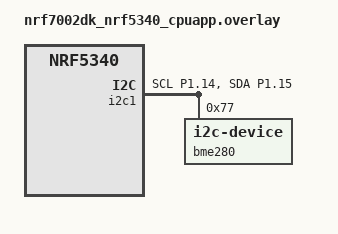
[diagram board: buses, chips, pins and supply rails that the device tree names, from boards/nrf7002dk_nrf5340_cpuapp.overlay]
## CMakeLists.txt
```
# SPDX-License-Identifier: Apache-2.0

cmake_minimum_required(VERSION 3.20.0)
find_package(Zephyr REQUIRED HINTS $ENV{ZEPHYR_BASE})
project(blinky)

target_sources(app PRIVATE src/main.c)

target_sources(app PRIVATE ./../../i2c/bme280.c)
target_include_directories(app PRIVATE ./../../i2c)
```

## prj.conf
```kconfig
CONFIG_GPIO=y
CONFIG_LOG=y
CONFIG_LOG_DEFAULT_LEVEL=3
# Sensor framework + I2C
CONFIG_SENSOR=y
CONFIG_I2C=y
CONFIG_BME280=y
CONFIG_ZTEST=y
```

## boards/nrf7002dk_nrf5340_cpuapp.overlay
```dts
/ {
	aliases {
		led5180 = &led1;    //custom LED alias
		button1 = &button0; //button toggle
	};
};

&i2c1 {
	status = "okay";
	pinctrl-0 = <&i2c1_default>;
	pinctrl-1 = <&i2c1_sleep>;
	pinctrl-names = "default", "sleep";

	bme280:bme280@77{
		compatible = "i2c-device";
		status = "okay";
		reg = < 0x77 >;
	};
};

&pinctrl {
	/omit-if-no-ref/ i2c1_default: i2c1_default {
		group1  {
			psels = <NRF_PSEL(TWIM_SCL, 1, 14)>,
					<NRF_PSEL(TWIM_SDA, 1, 15)>;
		};
	};
	/omit-if-no-ref/ i2c1_sleep: i2c1_sleep {
		group1  {
			psels = <NRF_PSEL(TWIM_SCL, 1, 14)>,
					<NRF_PSEL(TWIM_SDA, 1, 15)>;
			low-power-enable;
		};
	};  };
```

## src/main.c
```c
#include <stdio.h>
#include <zephyr/kernel.h>
#include <zephyr/ztest.h>
#include <zephyr/drivers/gpio.h>
#include <zephyr/drivers/i2c.h>
#include <zephyr/devicetree.h>

/*
 * Compile-time checks: if any of these fail, the BUILD ITSELF fails
 * with a clear message, before any test even runs.
 */
BUILD_ASSERT(DT_NODE_EXISTS(DT_ALIAS(led5180)), "led5180 alias is missing from the devicetree");
BUILD_ASSERT(DT_NODE_EXISTS(DT_ALIAS(button1)), "button1 alias is missing from the devicetree");
BUILD_ASSERT(DT_NODE_EXISTS(DT_NODELABEL(bme280)), "bme280 node is missing from the devicetree");



ZTEST(devicetree_sanity, test_led_alias_okay)
{
	zassert_true(DT_NODE_HAS_STATUS(DT_ALIAS(led5180), okay),
		     "led5180 alias node is not status \"okay\"");
}



ZTEST(devicetree_sanity, test_button_alias_okay)
{
	zassert_true(DT_NODE_HAS_STATUS(DT_ALIAS(button1), okay),
		     "button1 alias node is not status \"okay\"");
}



ZTEST(devicetree_sanity, test_i2c1_bus_okay)
{
	zassert_true(DT_NODE_HAS_STATUS(DT_NODELABEL(i2c1), okay),
		     "i2c1 bus node is not status \"okay\"");
}



ZTEST(devicetree_sanity, test_bme280_node_okay)
{
	zassert_true(DT_NODE_HAS_STATUS(DT_NODELABEL(bme280), okay),
		     "bme280 node is not status \"okay\"");
}



ZTEST(devicetree_sanity, test_bme280_address)
{
	uint32_t addr = DT_REG_ADDR(DT_NODELABEL(bme280));

	zassert_equal(addr, 0x77, "Expected BME280 I2C address 0x77, got 0x%02x", addr);
}



ZTEST(devicetree_sanity, test_led_gpio_ready)
{
	static const struct gpio_dt_spec led = GPIO_DT_SPEC_GET(DT_ALIAS(led5180), gpios);

	zassert_true(gpio_is_ready_dt(&led), "LED GPIO controller is not ready");
}



ZTEST(devicetree_sanity, test_button_gpio_ready)
{
	static const struct gpio_dt_spec button = GPIO_DT_SPEC_GET(DT_ALIAS(button1), gpios);

	zassert_true(gpio_is_ready_dt(&button), "Button GPIO controller is not ready");
}



ZTEST(devicetree_sanity, test_i2c_bus_ready)
{
	static const struct i2c_dt_spec bme280 = I2C_DT_SPEC_GET(DT_NODELABEL(bme280));

	zassert_true(i2c_is_ready_dt(&bme280), "I2C bus for BME280 is not ready");
}



ZTEST_SUITE(devicetree_sanity, NULL, NULL, NULL, NULL, NULL);
```
